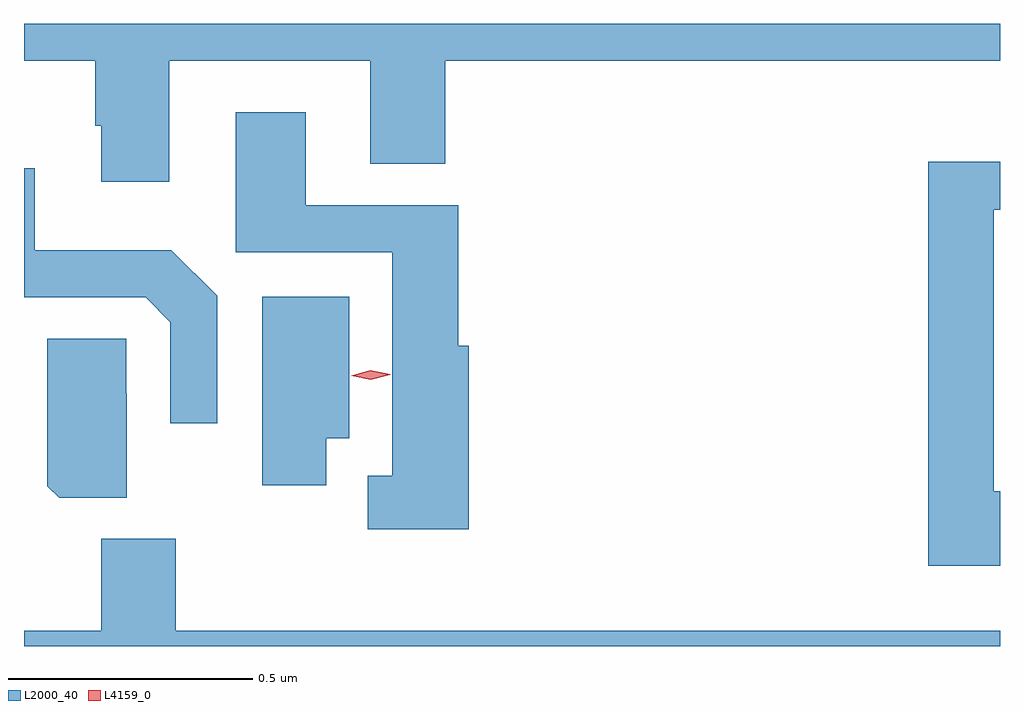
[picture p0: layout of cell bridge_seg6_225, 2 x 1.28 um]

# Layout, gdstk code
import gdstk
lib = gdstk.Library(unit=1e-6, precision=1e-09)
def P(c, l, *ps):  # polygons
    for p in ps: c.add(gdstk.Polygon(p, *l))
L2000_40 = (2000, 40)
L4159_0 = (4159, 0)

bridge_seg6_225 = lib.new_cell('bridge_seg6_225')
P(bridge_seg6_225, L2000_40, [(371.809,916.7),(372.221,916.7),(372.221,916.489),(372.374,916.489),(372.374,916.7),(373.511,916.7),(373.511,916.776),(371.511,916.776),(371.511,916.7),(371.657,916.7),(371.657,916.567),(371.669,916.567),(371.669,916.452),(371.809,916.452)],
  [(372.422,916.116),(372.401,916.116),(372.401,916.404),(372.088,916.404),(372.088,916.594),(371.945,916.594),(371.945,916.308),(372.266,916.308),(372.266,915.85),(372.215,915.85),(372.215,915.74),(372.422,915.74)],
  [(373.511,915.818),(373.498,915.818),(373.498,916.395),(373.511,916.395),(373.511,916.493),(373.364,916.493),(373.364,915.665),(373.511,915.665)],
  [(371.907,916.218),(371.813,916.312),(371.533,916.312),(371.533,916.48),(371.511,916.48),(371.511,916.215),(371.76,916.215),(371.811,916.164),(371.811,915.957),(371.907,915.957)],
  [(372.13,915.926),(372.178,915.926),(372.178,916.216),(371.999,916.216),(371.999,915.83),(372.13,915.83)],
  [(371.722,916.019),(371.721,916.019),(371.721,916.13),(371.559,916.13),(371.559,915.828),(371.583,915.805),(371.722,915.805)],
  [(373.511,915.532),(371.822,915.532),(371.822,915.72),(371.669,915.72),(371.669,915.532),(371.511,915.532),(371.511,915.5),(373.511,915.5)])
P(bridge_seg6_225, L4159_0, [(372.222,916.046),(372.182,916.055),(372.182,916.055),(372.182,916.055),(372.221,916.066),(372.261,916.058),(372.261,916.057),(372.261,916.057)])

lib.write_gds('bridge_seg6_225.gds')
